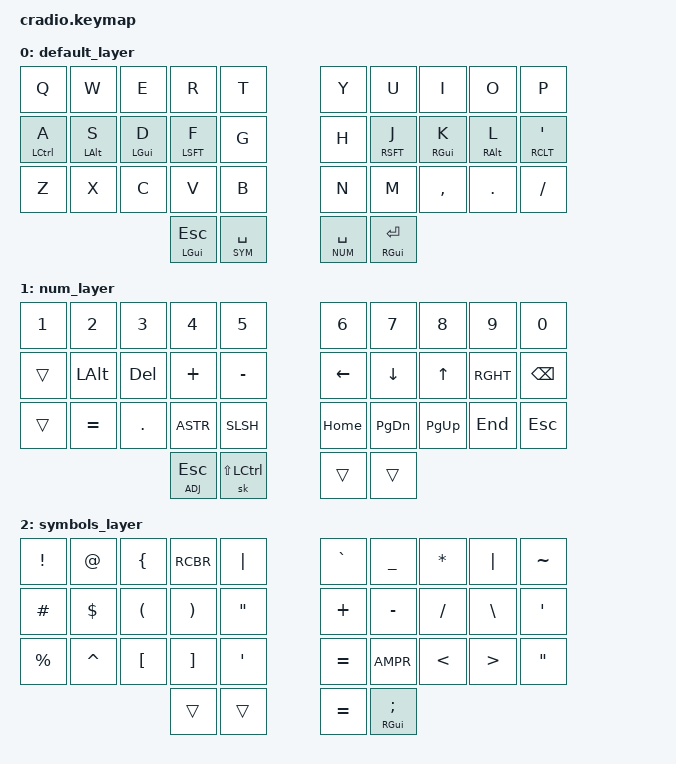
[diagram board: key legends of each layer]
/*
 * Copyright (c) 2020 The ZMK Contributors
 *
 * SPDX-License-Identifier: MIT
 */

#include <behaviors.dtsi>
#include <dt-bindings/zmk/keys.h>
#include <dt-bindings/zmk/bt.h>

#define BASE 0
#define NUM  1
#define SYM  2
#define ADJ  3

//&mt {
//  //  flavor = "tap-preferred";
//   // tapping_term_ms = <200>;
//};

/ { 

    //combos {
    //  #include "combos.dtsi"
    //};

    behaviors {
        hm: homerow_mods {
            compatible = "zmk,behavior-hold-tap";
            label = "HOMEROW_MODS";
            #binding-cells = <2>;
            tapping-term-ms = <150>;
            quick_tap_ms = <0>;
            flavor = "tap-preferred";
            bindings = <&kp>, <&kp>;
        };
    };

    keymap {
       compatible = "zmk,keymap";
                
       // "BASE"
       default_layer {
         bindings = <
           &kp Q      &kp W      &kp E      &kp R      &kp T          &kp Y   &kp U      &kp I      &kp O      &kp P
           &hm LCTL A &hm LALT S &hm LGUI D &hm LSFT F &kp G          &kp H   &hm RSFT J &hm RGUI K &hm RALT L &hm RCLT QUOT
           &kp Z      &kp X      &kp C      &kp V      &kp B          &kp N   &kp M      &kp CMMA   &kp DOT    &kp FSLH
                                          &mt LGUI ESC &lt SYM SPC    &lt NUM SPC &mt RGUI ENTER
         >;
       };
    
       // "NUM"
       num_layer {
         // numbers, navigation, & "math" symbol
         bindings = <
           &kp NUM_1 &kp NUM_2 &kp NUM_3 &kp NUM_4 &kp NUM_5       &kp NUM_6 &kp NUM_7 &kp NUM_8 &kp NUM_9 &kp NUM_0
           &trans    &kp LALT  &kp DEL   &kp PLUS  &kp MINUS       &kp LEFT  &kp DOWN  &kp UP    &kp RGHT  &kp BSPC
           &trans    &kp EQL   &kp DOT   &kp ASTR  &kp SLSH        &kp HOME  &kp PG_DN &kp PG_UP &kp END   &kp ESC
                                       &lt ADJ ESC &sk LS(LCTRL)   &trans    &trans
         >;
       }; 

       // "SYM"
       symbols_layer {
         bindings = <
           &kp EXCL  &kp AT    &kp LBRC &kp RCBR &kp PIPE   &kp GRAVE &kp UNDER &kp ASTRK &kp PIPE &kp TILDE
           &kp HASH  &kp DLLR  &kp LPAR &kp RPAR &kp DQT    &kp PLUS  &kp MINUS &kp FSLH  &kp BSLH &kp SQT
           &kp PRCNT &kp CARET &kp LBKT &kp RBKT &kp SQT    &kp EQL   &kp AMPR  &kp LT    &kp GT   &kp DQT
                                        &trans   &trans     &kp EQL   &mt RGUI SEMI
         >;
       };  
 
       adjust_layer {
         label = "ADJ"
         bindings = <
           &kp F1      &kp F2     &kp F3       &kp F4       &kp F5       &kp F6     &kp F7       &kp F8       &kp F9     &kp F10
           &trans      &none      &kp C_BRI_DN &kp C_BRI_UP &none        &kp C_PREV &kp C_VOL_DN &kp C_VOL_UP &kp C_NEXT &trans
           &bootloader &bt BT_CLR &bt BT_NXT   &bt BT_PRV   &none        &trans     &kp PG_DN    &kp K_VOL_DN &trans     &trans
                                               &trans       &trans       &kp K_MUTE &kp C_PLAY_PAUSE
         >;
       };  
        
    };
};
